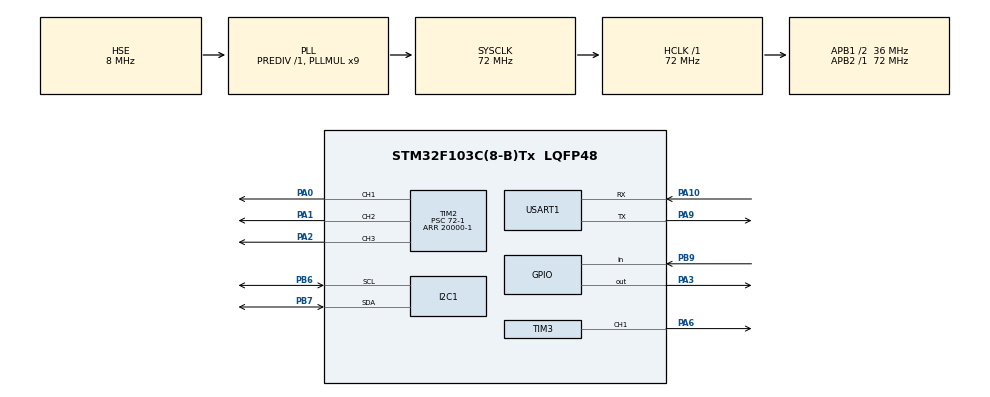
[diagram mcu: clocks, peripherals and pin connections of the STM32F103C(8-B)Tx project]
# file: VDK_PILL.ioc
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Mcu.Family=STM32F1
Mcu.Name=STM32F103C(8-B)Tx
Mcu.Package=LQFP48
NVIC.PriorityGroup=NVIC_PRIORITYGROUP_4
NVIC.USART1_IRQn=true\:1\:0\:true\:false\:true\:true\:true\:true
PA0-WKUP.Signal=S_TIM2_CH1_ETR
PA1.Signal=S_TIM2_CH2
PA10.Mode=Asynchronous
PA10.Signal=USART1_RX
PA13.Mode=Serial_Wire
PA13.Signal=SYS_JTMS-SWDIO
PA14.Mode=Serial_Wire
PA14.Signal=SYS_JTCK-SWCLK
PA2.Signal=S_TIM2_CH3
PA3.Signal=GPIO_Output
PA6.Signal=S_TIM3_CH1
PA9.Mode=Asynchronous
PA9.Signal=USART1_TX
PB6.Mode=I2C
PB6.Signal=I2C1_SCL
PB7.Mode=I2C
PB7.Signal=I2C1_SDA
PB9.Signal=GPIO_Input
PD0-OSC_IN.Mode=HSE-External-Oscillator
PD0-OSC_IN.Signal=RCC_OSC_IN
PD1-OSC_OUT.Mode=HSE-External-Oscillator
PD1-OSC_OUT.Signal=RCC_OSC_OUT
ProjectManager.HeapSize=0x200
ProjectManager.StackSize=0x400
ProjectManager.TargetToolchain=STM32CubeIDE
RCC.AHBFreq_Value=72000000
RCC.APB1CLKDivider=RCC_HCLK_DIV2
RCC.APB1Freq_Value=36000000
RCC.APB1TimFreq_Value=72000000
RCC.APB2Freq_Value=72000000
RCC.APB2TimFreq_Value=72000000
RCC.HCLKFreq_Value=72000000
RCC.LSE_VALUE=0
RCC.PLLMUL=RCC_PLL_MUL9
RCC.PLLSourceVirtual=RCC_PLLSOURCE_HSE
RCC.SYSCLKFreq_VALUE=72000000
RCC.SYSCLKSource=RCC_SYSCLKSOURCE_PLLCLK
RCC.USBFreq_Value=72000000
SH.S_TIM2_CH1_ETR.0=TIM2_CH1,PWM Generation1 CH1
SH.S_TIM2_CH2.0=TIM2_CH2,PWM Generation2 CH2
SH.S_TIM2_CH3.0=TIM2_CH3,PWM Generation3 CH3
SH.S_TIM3_CH1.0=TIM3_CH1,PWM Generation1 CH1
TIM2.Channel-PWM\ Generation1\ CH1=TIM_CHANNEL_1
TIM2.Channel-PWM\ Generation2\ CH2=TIM_CHANNEL_2
TIM2.Channel-PWM\ Generation3\ CH3=TIM_CHANNEL_3
TIM2.Period=20000-1
TIM2.Prescaler=72-1
TIM3.Channel-PWM\ Generation1\ CH1=TIM_CHANNEL_1
TIM3.Period=10000-1
TIM3.Prescaler=72-1
TIM3.Pulse-PWM\ Generation1\ CH1=500
USART1.VirtualMode=VM_ASYNC
VP_TIM2_VS_ClockSourceINT.Mode=Internal
VP_TIM3_VS_ClockSourceINT.Mode=Internal
board=custom

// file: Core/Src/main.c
/* USER CODE BEGIN Header */
/**
  ******************************************************************************
  * @file           : main.c
  * @brief          : Main program body
  ******************************************************************************
  * @attention
  *
  * Copyright (c) 2025 STMicroelectronics.
  * All rights reserved.
  *
  * This software is licensed under terms that can be found in the LICENSE file
  * in the root directory of this software component.
  * If no LICENSE file comes with this software, it is provided AS-IS.
  *
  ******************************************************************************
  */
/* USER CODE END Header */
#include "main.h"

/* USER CODE BEGIN Includes */
#include <stdio.h>
#include <string.h>
#include "liquidcrystal_i2c.h"
/* USER CODE END Includes */

/* USER CODE BEGIN PD */
#define DHT11_PORT GPIOB
#define DHT11_PIN GPIO_PIN_9
/* USER CODE END PD */

I2C_HandleTypeDef hi2c1;

TIM_HandleTypeDef htim2;
TIM_HandleTypeDef htim3;

UART_HandleTypeDef huart1;

/* USER CODE BEGIN PV */
char rxBuffer[50];  // Bộ đệm nhận dữ liệu
char txBuffer[100]; // Bộ đệm gửi dữ liệu
char rxChar;  // Biến lưu từng ký tự nhận
uint8_t rxIndex = 0; // Vị trí trong rxBuffer
volatile uint8_t dataReady = 0; // Cờ báo dữ liệu đã sẵn sàng
int16_t currentAngle_P = 0;
int16_t currentAngle_A = 0;
volatile char pillType;
volatile int quantity;
int16_t currentAngle = 0;
uint8_t RHI, RHD, TCI, TCD, SUM;
uint32_t pMillis, cMillis;
float tCelsius = 0;
float tFahrenheit = 0;
float RH = 0;

/* USER CODE END PV */

void SystemClock_Config(void);
static void MX_GPIO_Init(void);
static void MX_USART1_UART_Init(void);
static void MX_TIM2_Init(void);
static void MX_I2C1_Init(void);
static void MX_TIM3_Init(void);
/* USER CODE BEGIN PFP */
void ARM_Process(char pillType, int quantity);
void Set_Servo_Angle(TIM_HandleTypeDef *htim, uint32_t channel, uint8_t angle);
/* USER CODE END PFP */

/* USER CODE BEGIN 0 */
void microDelay (uint16_t delay)
{
  __HAL_TIM_SET_COUNTER(&htim3, 0);
  while (__HAL_TIM_GET_COUNTER(&htim3) < delay);
}

uint8_t DHT11_Start (void)
{
  uint8_t Response = 0;
  GPIO_InitTypeDef GPIO_InitStructPrivate = {0};
  GPIO_InitStructPrivate.Pin = DHT11_PIN;
  GPIO_InitStructPrivate.Mode = GPIO_MODE_OUTPUT_PP;
  GPIO_InitStructPrivate.Speed = GPIO_SPEED_FREQ_LOW;
  GPIO_InitStructPrivate.Pull = GPIO_NOPULL;
  HAL_GPIO_Init(DHT11_PORT, &GPIO_InitStructPrivate); // set the pin as output
  HAL_GPIO_WritePin (DHT11_PORT, DHT11_PIN, 0);   // pull the pin low
  HAL_Delay(20);   // wait for 20ms
  HAL_GPIO_WritePin (DHT11_PORT, DHT11_PIN, 1);   // pull the pin high
  microDelay (30);   // wait for 30us
  GPIO_InitStructPrivate.Mode = GPIO_MODE_INPUT;
  GPIO_InitStructPrivate.Pull = GPIO_PULLUP;
  HAL_GPIO_Init(DHT11_PORT, &GPIO_InitStructPrivate); // set the pin as input
  microDelay (40);
  if (!(HAL_GPIO_ReadPin (DHT11_PORT, DHT11_PIN)))
  {
    microDelay (80);
    if ((HAL_GPIO_ReadPin (DHT11_PORT, DHT11_PIN))) Response = 1;
  }
  pMillis = HAL_GetTick();
  cMillis = HAL_GetTick();
  while ((HAL_GPIO_ReadPin (DHT11_PORT, DHT11_PIN)) && pMillis + 2 > cMillis)
  {
    cMillis = HAL_GetTick();
  }
  return Response;
}

uint8_t DHT11_Read (void)
{
  uint8_t a,b;
  for (a=0;a<8;a++)
  {
    pMillis = HAL_GetTick();
    cMillis = HAL_GetTick();
    while (!(HAL_GPIO_ReadPin (DHT11_PORT, DHT11_PIN)) && pMillis + 2 > cMillis)
    {  // wait for the pin to go high
      cMillis = HAL_GetTick();
    }
    microDelay (40);   // wait for 40 us
    if (!(HAL_GPIO_ReadPin (DHT11_PORT, DHT11_PIN)))   // if the pin is low
      b&= ~(1<<(7-a));
    else
      b|= (1<<(7-a));
    pMillis = HAL_GetTick();
    cMillis = HAL_GetTick();
    while ((HAL_GPIO_ReadPin (DHT11_PORT, DHT11_PIN)) && pMillis + 2 > cMillis)
    {  // wait for the pin to go low
      cMillis = HAL_GetTick();
    }
  }
  return b;
}
// Hàm gửi dữ liệu qua UART
void UART_Send(const char* message)
{
    HAL_UART_Transmit(&huart1, (uint8_t*)message, strlen(message), HAL_MAX_DELAY);
}

// Bắt đầu nhận từng byte qua UART
void UART_Receive(void)
{
    HAL_UART_Receive_IT(&huart1, (uint8_t*)&rxChar, 1); // Nhận từng ký tự
}

// Hàm xử lý dữ liệu nhận được từ UART
void ProcessReceivedData(void)
{
    if (sscanf(rxBuffer, "%c%d", &pillType, &quantity) == 2)  // Đọc dữ liệu thành công
    {
            sprintf(txBuffer, "Pill Type: %c, Quantity: %d\r\n", pillType, quantity);
            UART_Send(txBuffer);
            ARM_Process(pillType,quantity);
    }
    rxIndex = 0;  // Reset vị trí buffer
}
void ARM_Process(char pillType, int quantity) {
	switch (pillType) {
	   case 'A':
		   for(int i=quantity;i>0;i--){
			   LCD_Clear();
			   HAL_Delay(100);
			   LCD_SetCursor(0, 0);
			   LCD_PrintStr("Thuoc dau bung");
			   LCD_SetCursor(0, 1);
			   char buffer[16];
			   sprintf(buffer, "So luong: %d", quantity); // Hiển thị số lượng
			   LCD_PrintStr(buffer);
			   Set_Servo_Angle(&htim2, TIM_CHANNEL_3, 90);
			   Set_Servo_Angle(&htim2, TIM_CHANNEL_2, 135);
			   HAL_Delay(1000);
			   Set_Servo_Angle(&htim2, TIM_CHANNEL_1, 180);
			   HAL_Delay(1000);
			   Set_Servo_Angle(&htim2, TIM_CHANNEL_3, 115);
			   HAL_Delay(1000);
			   HAL_GPIO_WritePin(GPIOA, GPIO_PIN_3, GPIO_PIN_RESET);
			   HAL_Delay(5000);
			   Set_Servo_Angle(&htim2, TIM_CHANNEL_2, 0);
			   HAL_Delay(1000);
			   Set_Servo_Angle(&htim2, TIM_CHANNEL_3, 90);
			   HAL_Delay(1000);
			   Set_Servo_Angle(&htim2, TIM_CHANNEL_1, 0);
			   HAL_Delay(1000);
			   HAL_GPIO_WritePin(GPIOA, GPIO_PIN_3, GPIO_PIN_SET);
			   HAL_Delay(2000);
			   LCD_Clear();
			   HAL_Delay(20);
			   LCD_SetCursor(0, 0);
			   LCD_PrintStr("Thanh cong");
			   HAL_Delay(1000);
		   }
	              // Gọi hàm di chuyển tay robot kiểu A
	            break;
	   case 'B':
		   for(int i=quantity;i>0;i--){
			   LCD_Clear();
			   HAL_Delay(100);
			   LCD_SetCursor(0, 0);
			   LCD_PrintStr("Thuoc ha sot");
			   LCD_SetCursor(0, 1);
			   char buffer[16];
			   sprintf(buffer, "So luong: %d", quantity); // Hiển thị số lượng
			   LCD_PrintStr(buffer);
			   Set_Servo_Angle(&htim2, TIM_CHANNEL_3, 90);
			   Set_Servo_Angle(&htim2, TIM_CHANNEL_2, 135);
			   HAL_Delay(1000);
			   Set_Servo_Angle(&htim2, TIM_CHANNEL_1, 135);
			   HAL_Delay(1000);
			   Set_Servo_Angle(&htim2, TIM_CHANNEL_3, 115);
			   HAL_Delay(1000);
			   HAL_GPIO_WritePin(GPIOA, GPIO_PIN_3, GPIO_PIN_RESET);
			   HAL_Delay(5000);
			   Set_Servo_Angle(&htim2, TIM_CHANNEL_2, 0);
			   HAL_Delay(1000);
			   Set_Servo_Angle(&htim2, TIM_CHANNEL_3, 90);
			   HAL_Delay(1000);
			   Set_Servo_Angle(&htim2, TIM_CHANNEL_1, 0);
			   HAL_Delay(1000);
			   HAL_GPIO_WritePin(GPIOA, GPIO_PIN_3, GPIO_PIN_SET);
			   HAL_Delay(2000);
			   LCD_Clear();
			   HAL_Delay(20);
			   LCD_SetCursor(0, 0);
			   LCD_PrintStr("Thanh cong");
			   HAL_Delay(1000);
		   }
	              // Gọi hàm di chuyển tay robot kiểu B
	            break;
	   case 'C':
		   for(int i=quantity;i>0;i--){
			   LCD_Clear();
			   HAL_Delay(100);
			   LCD_SetCursor(0, 0);
			   LCD_PrintStr("Thuoc dau dau");
			   LCD_SetCursor(0, 1);
			   char buffer[16];
			   sprintf(buffer, "So luong: %d", quantity); // Hiển thị số lượng
			   LCD_PrintStr(buffer);
			   Set_Servo_Angle(&htim2, TIM_CHANNEL_3, 90);
			   Set_Servo_Angle(&htim2, TIM_CHANNEL_2, 135);
			   HAL_Delay(1000);
			   Set_Servo_Angle(&htim2, TIM_CHANNEL_1, 90);
			   HAL_Delay(1000);
			   Set_Servo_Angle(&htim2, TIM_CHANNEL_3, 115);
			   HAL_Delay(1000);
			   HAL_GPIO_WritePin(GPIOA, GPIO_PIN_3, GPIO_PIN_RESET);
			   HAL_Delay(5000);
			   Set_Servo_Angle(&htim2, TIM_CHANNEL_2, 0);
			   HAL_Delay(1000);
			   Set_Servo_Angle(&htim2, TIM_CHANNEL_3, 90);
			   HAL_Delay(1000);
			   Set_Servo_Angle(&htim2, TIM_CHANNEL_1, 0);
			   HAL_Delay(1000);
			   HAL_GPIO_WritePin(GPIOA, GPIO_PIN_3, GPIO_PIN_SET);
			   HAL_Delay(2000);
			   LCD_Clear();
			   HAL_Delay(20);
			   LCD_SetCursor(0, 0);
			   LCD_PrintStr("Thanh cong");
			   HAL_Delay(1000);
		   }
	            // Gọi hàm di chuyển tay robot kiểu C
	            break;
	    }
	UART_Send("Process Finished");
	}
void Set_Servo_Angle(TIM_HandleTypeDef *htim, uint32_t channel, uint8_t angle) {
    // Độ rộng xung từ 1ms đến 2ms tương ứng với góc từ 0 đến 180
    uint16_t pulse = (uint16_t)(1000 + (angle * 1000) / 180); // Tính pulse từ góc

    // Cập nhật độ rộng xung cho kênh PWM
    __HAL_TIM_SET_COMPARE(htim, channel, pulse);
}
// Hàm ngắt nhận từng ký tự UART

void HAL_UART_RxCpltCallback(UART_HandleTypeDef *huart)
{
    if (huart->Instance == USART1)
    {
        if (rxChar == '\n')  // Khi nhận đủ một chuỗi (kết thúc bằng '\n')
        {
            rxBuffer[rxIndex] = '\0';  // Đánh dấu kết thúc chuỗi
            dataReady = 1;  // Đánh dấu dữ liệu đã sẵn sàng
        }
        else
        {
            rxBuffer[rxIndex++] = rxChar;  // Lưu ký tự vào buffer
            if (rxIndex >= sizeof(rxBuffer)) // Tránh tràn bộ nhớ
            {
                rxIndex = 0;
            }
        }

        // Tiếp tục nhận ký tự tiếp theo
        UART_Receive();
    }
}
/* USER CODE END 0 */

int main(void)
{

  /* MCU Configuration--------------------------------------------------------*/

  /* Reset of all peripherals, Initializes the Flash interface and the Systick. */
  HAL_Init();

  /* Configure the system clock */
  SystemClock_Config();

  /* Initialize all configured peripherals */
  MX_GPIO_Init();
  MX_USART1_UART_Init();
  MX_TIM2_Init();
  MX_I2C1_Init();
  LCD_Init(2);
  LCD_Backlight();
  LCD_Display();
  MX_TIM3_Init();

  /* USER CODE BEGIN 2 */
  HAL_TIM_PWM_Start(&htim3,TIM_CHANNEL_1);
  HAL_TIM_PWM_Start(&htim2,TIM_CHANNEL_1);
  HAL_TIM_PWM_Start(&htim2,TIM_CHANNEL_2);
  HAL_TIM_PWM_Start(&htim2,TIM_CHANNEL_3);
  UART_Receive();

  /* USER CODE END 2 */

  /* Infinite loop */
  while (1)
  {

    /* USER CODE BEGIN 3 */
	  HAL_GPIO_WritePin(GPIOA, GPIO_PIN_3, GPIO_PIN_SET);
	  Set_Servo_Angle(&htim2, TIM_CHANNEL_2, 0);
	 	  HAL_Delay(1000);
	  Set_Servo_Angle(&htim2, TIM_CHANNEL_1, 0);
	 	  HAL_Delay(1000);
	  Set_Servo_Angle(&htim2, TIM_CHANNEL_3, 90);
	  if (dataReady)  // Kiểm tra cờ báo dữ liệu đã sẵn sàng
	  	 {
	  	  ProcessReceivedData();
	  	  dataReady = 0;  // Reset lại cờ báo
	  	 }
	  if(DHT11_Start())
	       {
	         RHI = DHT11_Read(); // Relative humidity integral
	         RHD = DHT11_Read(); // Relative humidity decimal
	         TCI = DHT11_Read(); // Celsius integral
	         TCD = DHT11_Read(); // Celsius decimal
	         SUM = DHT11_Read(); // Check sum
	         char snum1[4];
	         char snum2[4];
	         // Cập nhật mã này
	         sprintf(snum1, "%d", TCI); // Chuyển đổi số nguyên TCI thành chuỗi snum1
	         sprintf(snum2, "%d", RHI); // Chuyển đổi số nguyên RHI thành chuỗi snum2
	         LCD_Clear();
	         LCD_Clear(); // Xóa màn hình LCD
	         LCD_SetCursor(6, 1); // Đặt con trỏ tại dòng 0, cột 0
	         LCD_PrintStr("T:"); // In ra "Nhiet do:"
	         LCD_SetCursor(8, 1); // Đặt con trỏ tại dòng 0, cột 10
	         LCD_PrintStr(snum1); // In nhiệt độ
	         LCD_SetCursor(12, 1); // Đặt con trỏ tại dòng 0, cột 0
			 LCD_PrintStr("H:"); // In ra "Nhiet do:"
			 LCD_SetCursor(14, 1); // Đặt con trỏ tại dòng 0, cột 10
			 LCD_PrintStr(snum1); // In nhiệt độ

	        }
	  HAL_Delay(1000);
  }
  /* USER CODE END 3 */
}

void SystemClock_Config(void)
{
  RCC_OscInitTypeDef RCC_OscInitStruct = {0};
  RCC_ClkInitTypeDef RCC_ClkInitStruct = {0};

  /** Initializes the RCC Oscillators according to the specified parameters
  * in the RCC_OscInitTypeDef structure.
  */
  RCC_OscInitStruct.OscillatorType = RCC_OSCILLATORTYPE_HSE;
  RCC_OscInitStruct.HSEState = RCC_HSE_ON;
  RCC_OscInitStruct.HSEPredivValue = RCC_HSE_PREDIV_DIV1;
  RCC_OscInitStruct.HSIState = RCC_HSI_ON;
  RCC_OscInitStruct.PLL.PLLState = RCC_PLL_ON;
  RCC_OscInitStruct.PLL.PLLSource = RCC_PLLSOURCE_HSE;
  RCC_OscInitStruct.PLL.PLLMUL = RCC_PLL_MUL9;
  if (HAL_RCC_OscConfig(&RCC_OscInitStruct) != HAL_OK)
  {
    Error_Handler();
  }

  /** Initializes the CPU, AHB and APB buses clocks
  */
  RCC_ClkInitStruct.ClockType = RCC_CLOCKTYPE_HCLK|RCC_CLOCKTYPE_SYSCLK
                              |RCC_CLOCKTYPE_PCLK1|RCC_CLOCKTYPE_PCLK2;
  RCC_ClkInitStruct.SYSCLKSource = RCC_SYSCLKSOURCE_PLLCLK;
  RCC_ClkInitStruct.AHBCLKDivider = RCC_SYSCLK_DIV1;
  RCC_ClkInitStruct.APB1CLKDivider = RCC_HCLK_DIV2;
  RCC_ClkInitStruct.APB2CLKDivider = RCC_HCLK_DIV1;

  if (HAL_RCC_ClockConfig(&RCC_ClkInitStruct, FLASH_LATENCY_2) != HAL_OK)
  {
    Error_Handler();
  }
}

static void MX_I2C1_Init(void)
{

  hi2c1.Instance = I2C1;
  hi2c1.Init.ClockSpeed = 100000;
  hi2c1.Init.DutyCycle = I2C_DUTYCYCLE_2;
  hi2c1.Init.OwnAddress1 = 0;
  hi2c1.Init.AddressingMode = I2C_ADDRESSINGMODE_7BIT;
  hi2c1.Init.DualAddressMode = I2C_DUALADDRESS_DISABLE;
  hi2c1.Init.OwnAddress2 = 0;
  hi2c1.Init.GeneralCallMode = I2C_GENERALCALL_DISABLE;
  hi2c1.Init.NoStretchMode = I2C_NOSTRETCH_DISABLE;
  if (HAL_I2C_Init(&hi2c1) != HAL_OK)
  {
    Error_Handler();
  }

}

static void MX_TIM2_Init(void)
{

  TIM_ClockConfigTypeDef sClockSourceConfig = {0};
  TIM_MasterConfigTypeDef sMasterConfig = {0};
  TIM_OC_InitTypeDef sConfigOC = {0};

  htim2.Instance = TIM2;
  htim2.Init.Prescaler = 72-1;
  htim2.Init.CounterMode = TIM_COUNTERMODE_UP;
  htim2.Init.Period = 20000-1;
  htim2.Init.ClockDivision = TIM_CLOCKDIVISION_DIV1;
  htim2.Init.AutoReloadPreload = TIM_AUTORELOAD_PRELOAD_DISABLE;
  if (HAL_TIM_Base_Init(&htim2) != HAL_OK)
  {
    Error_Handler();
  }
  sClockSourceConfig.ClockSource = TIM_CLOCKSOURCE_INTERNAL;
  if (HAL_TIM_ConfigClockSource(&htim2, &sClockSourceConfig) != HAL_OK)
  {
    Error_Handler();
  }
  if (HAL_TIM_PWM_Init(&htim2) != HAL_OK)
  {
    Error_Handler();
  }
  sMasterConfig.MasterOutputTrigger = TIM_TRGO_RESET;
  sMasterConfig.MasterSlaveMode = TIM_MASTERSLAVEMODE_DISABLE;
  if (HAL_TIMEx_MasterConfigSynchronization(&htim2, &sMasterConfig) != HAL_OK)
  {
    Error_Handler();
  }
  sConfigOC.OCMode = TIM_OCMODE_PWM1;
  sConfigOC.Pulse = 0;
  sConfigOC.OCPolarity = TIM_OCPOLARITY_HIGH;
  sConfigOC.OCFastMode = TIM_OCFAST_DISABLE;
  if (HAL_TIM_PWM_ConfigChannel(&htim2, &sConfigOC, TIM_CHANNEL_1) != HAL_OK)
  {
    Error_Handler();
  }
  if (HAL_TIM_PWM_ConfigChannel(&htim2, &sConfigOC, TIM_CHANNEL_2) != HAL_OK)
  {
    Error_Handler();
  }
  if (HAL_TIM_PWM_ConfigChannel(&htim2, &sConfigOC, TIM_CHANNEL_3) != HAL_OK)
  {
    Error_Handler();
  }
  HAL_TIM_MspPostInit(&htim2);

}

static void MX_TIM3_Init(void)
{

  TIM_ClockConfigTypeDef sClockSourceConfig = {0};
  TIM_MasterConfigTypeDef sMasterConfig = {0};
  TIM_OC_InitTypeDef sConfigOC = {0};

  htim3.Instance = TIM3;
  htim3.Init.Prescaler = 72-1;
  htim3.Init.CounterMode = TIM_COUNTERMODE_UP;
  htim3.Init.Period = 10000-1;
  htim3.Init.ClockDivision = TIM_CLOCKDIVISION_DIV1;
  htim3.Init.AutoReloadPreload = TIM_AUTORELOAD_PRELOAD_DISABLE;
  if (HAL_TIM_Base_Init(&htim3) != HAL_OK)
  {
    Error_Handler();
  }
  sClockSourceConfig.ClockSource = TIM_CLOCKSOURCE_INTERNAL;
  if (HAL_TIM_ConfigClockSource(&htim3, &sClockSourceConfig) != HAL_OK)
  {
    Error_Handler();
  }
  if (HAL_TIM_PWM_Init(&htim3) != HAL_OK)
  {
    Error_Handler();
  }
  sMasterConfig.MasterOutputTrigger = TIM_TRGO_RESET;
  sMasterConfig.MasterSlaveMode = TIM_MASTERSLAVEMODE_DISABLE;
  if (HAL_TIMEx_MasterConfigSynchronization(&htim3, &sMasterConfig) != HAL_OK)
  {
    Error_Handler();
  }
  sConfigOC.OCMode = TIM_OCMODE_PWM1;
  sConfigOC.Pulse = 500;
  sConfigOC.OCPolarity = TIM_OCPOLARITY_HIGH;
  sConfigOC.OCFastMode = TIM_OCFAST_DISABLE;
  if (HAL_TIM_PWM_ConfigChannel(&htim3, &sConfigOC, TIM_CHANNEL_1) != HAL_OK)
  {
    Error_Handler();
  }
  HAL_TIM_MspPostInit(&htim3);

}

static void MX_USART1_UART_Init(void)
{

  huart1.Instance = USART1;
  huart1.Init.BaudRate = 115200;
  huart1.Init.WordLength = UART_WORDLENGTH_8B;
  huart1.Init.StopBits = UART_STOPBITS_1;
  huart1.Init.Parity = UART_PARITY_NONE;
  huart1.Init.Mode = UART_MODE_TX_RX;
  huart1.Init.HwFlowCtl = UART_HWCONTROL_NONE;
  huart1.Init.OverSampling = UART_OVERSAMPLING_16;
  if (HAL_UART_Init(&huart1) != HAL_OK)
  {
    Error_Handler();
  }

}

static void MX_GPIO_Init(void)
{
  GPIO_InitTypeDef GPIO_InitStruct = {0};

  /* GPIO Ports Clock Enable */
  __HAL_RCC_GPIOD_CLK_ENABLE();
  __HAL_RCC_GPIOA_CLK_ENABLE();
  __HAL_RCC_GPIOB_CLK_ENABLE();

  /*Configure GPIO pin Output Level */
  HAL_GPIO_WritePin(GPIOA, GPIO_PIN_3, GPIO_PIN_RESET);

  /*Configure GPIO pin : PA3 */
  GPIO_InitStruct.Pin = GPIO_PIN_3;
  GPIO_InitStruct.Mode = GPIO_MODE_OUTPUT_PP;
  GPIO_InitStruct.Pull = GPIO_NOPULL;
  GPIO_InitStruct.Speed = GPIO_SPEED_FREQ_LOW;
  HAL_GPIO_Init(GPIOA, &GPIO_InitStruct);

  /*Configure GPIO pin : PB9 */
  GPIO_InitStruct.Pin = GPIO_PIN_9;
  GPIO_InitStruct.Mode = GPIO_MODE_INPUT;
  GPIO_InitStruct.Pull = GPIO_NOPULL;
  HAL_GPIO_Init(GPIOB, &GPIO_InitStruct);

}

void Error_Handler(void)
{
  __disable_irq();
  while (1)
  {
  }
}
